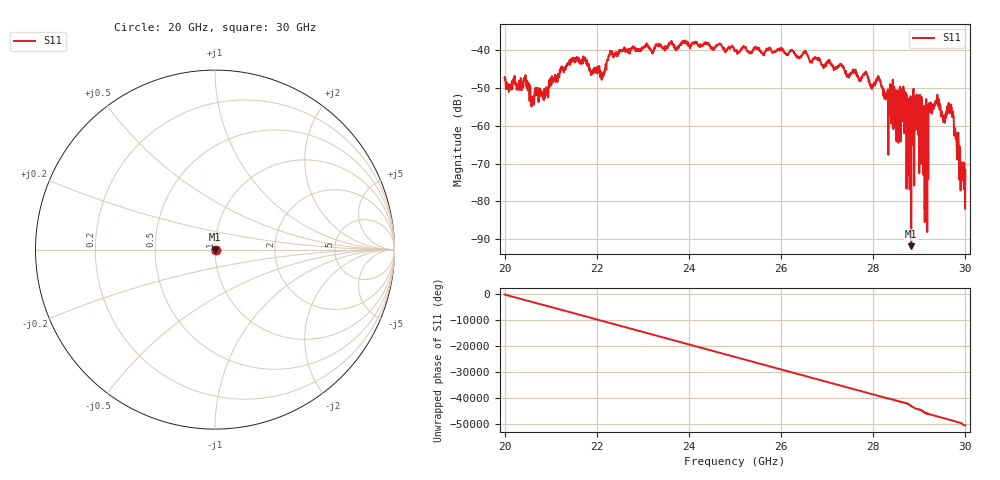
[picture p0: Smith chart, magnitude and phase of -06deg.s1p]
#  HZ  S  RI  R  50.00
! Rohde & Schwarz ZVA40 4Ports - Version 3.90 - 1145.1110k42 SN: 100403
! Date: 2023-10-03 12:35:59
! Measurement: S12
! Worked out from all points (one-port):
!   5001 points, 20 GHz to 30 GHz, reference 50 ohm
!   lowest |S11| = -91.9 dB at 28.82 GHz (marker M1), VSWR 1.00, Z = 50 - j0.00138 ohm
!   |S11| at or under -10 dB: start of sweep to end of sweep
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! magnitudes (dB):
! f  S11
! 20 GHz  -47.3
! 20.46 GHz  -48.6
! 20.61 GHz  -53.4
! 20.87 GHz  -51.3
! 21.25 GHz  -45.0
! 21.71 GHz  -42.2
! 22.12 GHz  -46.3
! 22.28 GHz  -41.0
! 22.5 GHz  -40.5
! 23.75 GHz  -39.7
! 25 GHz  -40.1
! 26.25 GHz  -40.2
! 27.5 GHz  -46.4
! 27.83 GHz  -46.0
! 27.97 GHz  -50.2
! 28.12 GHz  -47.1
! 28.51 GHz  -54.9
! 28.69 GHz  -52.2
! 28.75 GHz  -70.0
! 28.82 GHz  -91.9
! 28.95 GHz  -52.1
! 29.15 GHz  -53.3
! 29.25 GHz  -54.6
! 29.36 GHz  -54.2
! 29.52 GHz  -59.0
! 29.68 GHz  -56.2
! 29.91 GHz  -70.3
! 30 GHz  -71.7
